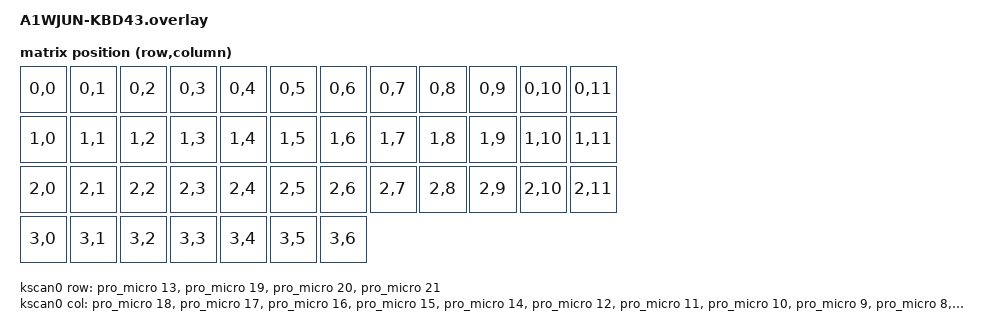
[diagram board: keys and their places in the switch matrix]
#include <dt-bindings/zmk/matrix_transform.h>
#include <physical_layouts.dtsi>
#include "A1WJUN-KBD43.dtsi"   // 引入纯物理布局

/ {
    // ========== 矩阵变换 ==========
    default_transform: keymap_transform_0 {
        compatible = "zmk,matrix-transform";
        columns = <12>;
        rows = <4>;
        map = <
            RC(0,0) RC(0,1) RC(0,2) RC(0,3) RC(0,4) RC(0,5) RC(0,6) RC(0,7) RC(0,8) RC(0,9) RC(0,10) RC(0,11)
            RC(1,0) RC(1,1) RC(1,2) RC(1,3) RC(1,4) RC(1,5) RC(1,6) RC(1,7) RC(1,8) RC(1,9) RC(1,10) RC(1,11)
            RC(2,0) RC(2,1) RC(2,2) RC(2,3) RC(2,4) RC(2,5) RC(2,6) RC(2,7) RC(2,8) RC(2,9) RC(2,10) RC(2,11)
            RC(3,0) RC(3,1) RC(3,2) RC(3,3) RC(3,4) RC(3,5) RC(3,6)
        >;
    };

    // ========== GPIO 扫描驱动 ==========
    kscan0: kscan_0 {
        compatible = "zmk,kscan-gpio-matrix";
        status = "okay";
        wakeup-source;
        diode-direction = "col2row";

        // 优化：防抖与扫描周期设为 1ms，降低输入延迟（性能优先）
        debounce-press-ms = <1>;
        debounce-release-ms = <1>;
        debounce-scan-period-ms = <1>;

        col-gpios
            = <&pro_micro 18 GPIO_ACTIVE_HIGH>
            , <&pro_micro 17 GPIO_ACTIVE_HIGH>
            , <&pro_micro 16 GPIO_ACTIVE_HIGH>
            , <&pro_micro 15 GPIO_ACTIVE_HIGH>
            , <&pro_micro 14 GPIO_ACTIVE_HIGH>
            , <&pro_micro 12 GPIO_ACTIVE_HIGH>
            , <&pro_micro 11 GPIO_ACTIVE_HIGH>
            , <&pro_micro 10 GPIO_ACTIVE_HIGH>
            , <&pro_micro  9 GPIO_ACTIVE_HIGH>
            , <&pro_micro  8 GPIO_ACTIVE_HIGH>
            , <&pro_micro  7 GPIO_ACTIVE_HIGH>
            , <&pro_micro  6 GPIO_ACTIVE_HIGH>
            ;

        row-gpios
            = <&pro_micro 13 (GPIO_ACTIVE_HIGH | GPIO_PULL_DOWN)>
            , <&pro_micro 19 (GPIO_ACTIVE_HIGH | GPIO_PULL_DOWN)>
            , <&pro_micro 20 (GPIO_ACTIVE_HIGH | GPIO_PULL_DOWN)>
            , <&pro_micro 21 (GPIO_ACTIVE_HIGH | GPIO_PULL_DOWN)>
            ;
    };

    // ========== ZMK Studio 支持 ==========
    studio: studio {
        compatible = "zmk,studio";
        layout = <&physical_layout_0>;   // 启用布局引用，使 Studio 正常工作
    };

    // ========== chosen 节点 ==========
    chosen {
        zmk,kscan = &kscan0;
        zmk,physical-layout = &physical_layout_0;   // 明确指定物理布局
    };

    // ========== 自定义行为 ==========
    behaviors {
        studio_unlock: studio_unlock {
            compatible = "zmk,behavior-studio-unlock";
            #binding-cells = <0>;
        };
    };

    // ========== 物理布局（从外部 dtsi 引入后补充 transform） ==========
    physical_layout_0: physical_layout_0 {
        status = "okay";
        transform = <&default_transform>;
        // 注意：kscan 由 chosen 统一指定，此处无需重复绑定
    };
};
